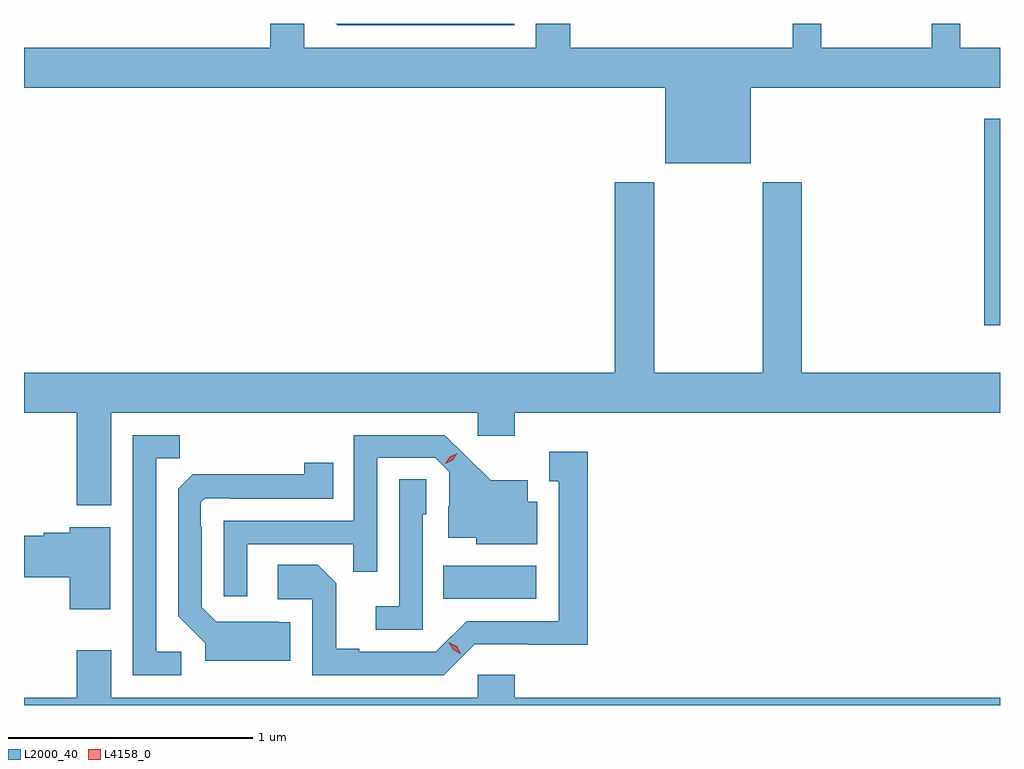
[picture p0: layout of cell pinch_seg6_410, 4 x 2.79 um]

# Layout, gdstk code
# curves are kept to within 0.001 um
import gdstk
lib = gdstk.Library(unit=1e-6, precision=1e-09)
def R(c, l, rs):  # rectangles x0, y0, x1, y1
    for r in rs: c.add(gdstk.rectangle(r[:2], r[2:], *l))
def P(c, l, *ps):  # polygons
    for p in ps: c.add(gdstk.Polygon(p, *l))
L2000_40 = (2000, 40)
L4158_0 = (4158, 0)

pinch_seg6_410 = lib.new_cell('pinch_seg6_410')
R(pinch_seg6_410, L2000_40, [(658.402,915.938,658.783,916.072), (660.619,917.058,660.683,917.905)])
P(pinch_seg6_410, L2000_40, [(659.662,918.032),(660.683,918.032),(660.683,918.196),(660.521,918.196),(660.521,918.295),(660.404,918.295),(660.404,918.196),(659.951,918.196),(659.951,918.295),(659.833,918.295),(659.833,918.196),(658.921,918.196),(658.921,918.295),(658.781,918.295),(658.781,918.196),(657.831,918.196),(657.831,918.294),(657.692,918.294),(657.692,918.196),(656.683,918.196),(656.683,918.032),(659.312,918.032),(659.312,917.723),(659.662,917.723)],
  [(658.692,918.295),(657.961,918.295),(657.968,918.288),(658.692,918.288)],
  [(657.04,916.7),(658.542,916.7),(658.542,916.605),(658.694,916.605),(658.694,916.7),(660.683,916.7),(660.683,916.864),(659.87,916.864),(659.87,917.644),(659.71,917.644),(659.71,916.864),(659.265,916.864),(659.265,917.644),(659.105,917.644),(659.105,916.864),(656.683,916.864),(656.683,916.7),(656.9,916.7),(656.9,916.32),(657.04,916.32)],
  [(657.597,916.161),(658.033,916.161),(658.033,916.048),(658.131,916.048),(658.131,916.515),(658.368,916.515),(658.425,916.458),(658.425,916.316),(658.421,916.316),(658.421,916.187),(658.536,916.187),(658.536,916.16),(658.786,916.16),(658.786,916.336),(658.747,916.336),(658.747,916.423),(658.595,916.423),(658.408,916.608),(658.035,916.608),(658.035,916.257),(657.501,916.257),(657.501,915.948),(657.597,915.948)],
  [(657.328,915.72),(657.225,915.72),(657.225,916.513),(657.321,916.513),(657.321,916.608),(657.129,916.608),(657.129,915.624),(657.328,915.624)],
  [(658.53,915.75),(658.993,915.749),(658.993,916.54),(658.835,916.54),(658.835,916.419),(658.874,916.419),(658.874,915.846),(658.497,915.846),(658.371,915.72),(658.057,915.72),(658.057,915.733),(657.963,915.733),(657.963,916),(657.887,916.076),(657.723,916.076),(657.723,915.936),(657.864,915.936),(657.864,915.624),(658.404,915.624)],
  [(657.775,915.841),(657.731,915.841),(657.728,915.844),(657.471,915.843),(657.411,915.903),(657.411,916.232),(657.408,916.232),(657.408,916.332),(657.426,916.35),(657.526,916.35),(657.526,916.347),(657.95,916.347),(657.95,916.495),(657.832,916.495),(657.832,916.448),(657.374,916.447),(657.315,916.388),(657.315,915.866),(657.425,915.756),(657.425,915.683),(657.775,915.683)],
  [(658.317,916.284),(658.332,916.284),(658.332,916.427),(658.221,916.427),(658.221,915.907),(658.125,915.907),(658.125,915.81),(658.317,915.81)],
  [(657.037,916.231),(656.87,916.231),(656.87,916.208),(656.763,916.208),(656.763,916.195),(656.683,916.195),(656.683,916.025),(656.87,916.025),(656.87,915.894),(657.037,915.894)],
  [(660.683,915.532),(658.694,915.532),(658.694,915.625),(658.542,915.625),(658.542,915.532),(657.04,915.532),(657.04,915.727),(656.9,915.727),(656.9,915.532),(656.683,915.532),(656.683,915.5),(660.683,915.5)])
P(pinch_seg6_410, L4158_0, [(658.475,915.709),(658.442,915.728),(658.424,915.76),(658.424,915.76),(658.424,915.76),(658.457,915.742),(658.475,915.71),(658.475,915.709)],
  [(658.409,916.491),(658.409,916.491),(658.427,916.52),(658.458,916.534),(658.458,916.534),(658.458,916.534),(658.44,916.505),(658.409,916.491)])

lib.write_gds('pinch_seg6_410.gds')
